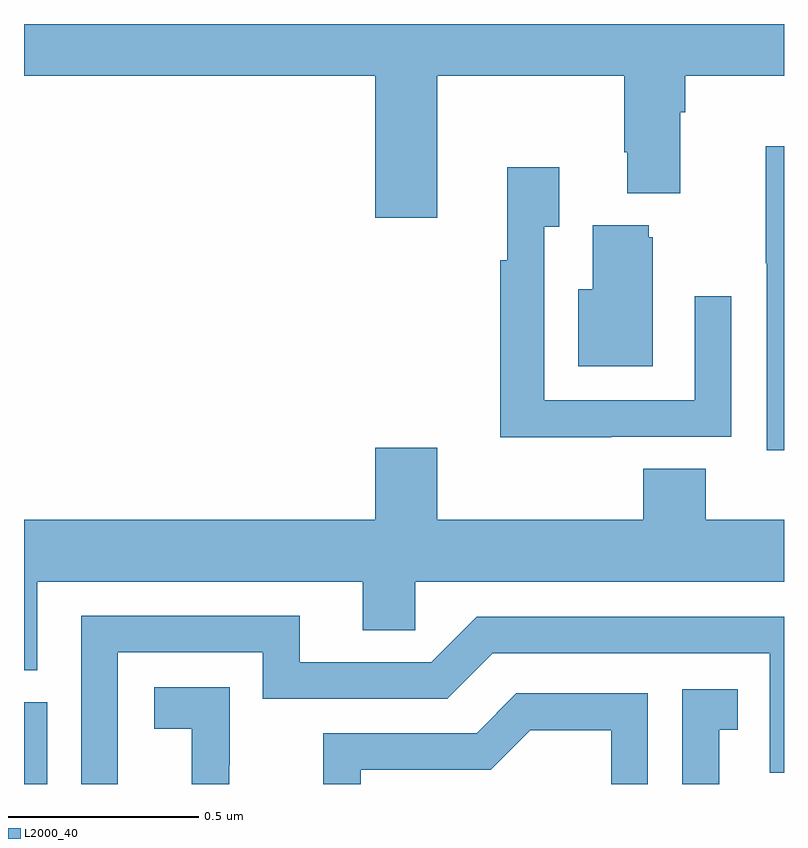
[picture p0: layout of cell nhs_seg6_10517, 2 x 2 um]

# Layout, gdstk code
import gdstk
lib = gdstk.Library(unit=1e-6, precision=1e-09)
def R(c, l, rs):  # rectangles x0, y0, x1, y1
    for r in rs: c.add(gdstk.rectangle(r[:2], r[2:], *l))
def P(c, l, *ps):  # polygons
    for p in ps: c.add(gdstk.Polygon(p, *l))
L2000_40 = (2000, 40)

nhs_seg6_10517 = lib.new_cell('nhs_seg6_10517')
R(nhs_seg6_10517, L2000_40, [(248,917.5,248.061,917.715)])
P(nhs_seg6_10517, L2000_40, [(249.088,919.364),(249.58,919.364),(249.58,919.162),(249.587,919.162),(249.587,919.055),(249.727,919.055),(249.727,919.268),(249.74,919.268),(249.74,919.364),(250,919.364),(250,919.5),(248,919.5),(248,919.364),(248.924,919.364),(248.924,918.99),(249.088,918.99)],
  [(250,919.178),(249.952,919.178),(249.952,918.871),(249.954,918.871),(249.954,918.378),(250,918.378)],
  [(249.545,918.414),(249.861,918.414),(249.861,918.784),(249.765,918.784),(249.765,918.51),(249.369,918.51),(249.369,918.967),(249.409,918.967),(249.409,919.123),(249.272,919.123),(249.272,918.878),(249.253,918.878),(249.253,918.413),(249.545,918.413)],
  [(249.655,918.939),(249.644,918.939),(249.644,918.97),(249.497,918.97),(249.497,918.802),(249.458,918.802),(249.458,918.599),(249.655,918.599)],
  [(248.035,918.032),(248.891,918.032),(248.891,917.905),(249.03,917.905),(249.03,918.032),(250,918.032),(250,918.196),(249.794,918.196),(249.794,918.329),(249.629,918.329),(249.629,918.196),(249.088,918.196),(249.088,918.385),(248.924,918.385),(248.924,918.196),(248,918.196),(248,917.8),(248.035,917.8)],
  [(248.247,917.847),(248.628,917.847),(248.628,917.724),(249.114,917.724),(249.234,917.844),(249.963,917.844),(249.963,917.529),(250,917.529),(250,917.94),(249.192,917.94),(249.072,917.82),(248.725,917.82),(248.725,917.943),(248.151,917.943),(248.151,917.5),(248.247,917.5)],
  [(248.54,917.549),(248.541,917.549),(248.541,917.755),(248.343,917.755),(248.343,917.645),(248.441,917.645),(248.441,917.5),(248.54,917.5)],
  [(249.829,917.643),(249.878,917.643),(249.878,917.749),(249.732,917.749),(249.732,917.5),(249.829,917.5)],
  [(248.886,917.538),(249.228,917.538),(249.332,917.642),(249.546,917.642),(249.546,917.5),(249.642,917.5),(249.642,917.739),(249.296,917.739),(249.191,917.634),(248.788,917.634),(248.788,917.5),(248.886,917.5)])

lib.write_gds('nhs_seg6_10517.gds')
